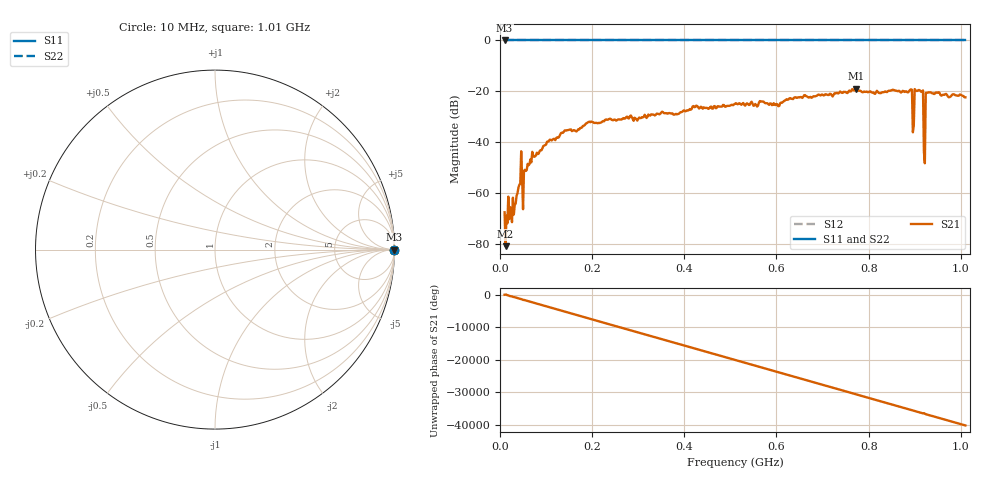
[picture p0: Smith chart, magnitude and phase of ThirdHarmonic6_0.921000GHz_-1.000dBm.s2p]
! 8/16/2025 6:05:22 AM
! C:\ANRITSUVNA\TEMP\TEMP.S2P
! CHANNEL.1
! TR.MEASUREMENT
! RAW.DATA
! RF.CORRECTION.OFF
! AVERAGING.OFF
! IF.BANDWIDTH: 5KHZ
! SWEEPTYPE:  FREQ.SWEEP(Linear)
! Reference Plane Port Info
! PORT:  PORT1  PORT2
! DISTANCE:  0  m  0  m
! TIME:  0  s  0  s
! PHASE.OFFSET:  0  deg.  0  deg.
! LOSS:  0  dB  0  dB
! REF.LOSS:  0  dB  0  dB
! REF.FREQ:  0  Hz  0  Hz
! Power Info
! POWER:  -20  dBm  -20  dBm
! EFF.POWER:  -20  dBm  -20  dBm
! SOURCE.ATTEN:  0  dB  0  dB
! TEST.ATTEN:  0  dB  0  dB
# GHZ S RI R 50.0
! FREQ.GHZ  S11RE  S11IM  S21RE  S21IM  S12RE  S12IM  S22RE  S22IM
!; PortSelection: Port_12
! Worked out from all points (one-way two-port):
!   501 points, 10 MHz to 1.01 GHz, reference 50 ohm
!   highest |S21| = -18.97 dB at 772 MHz (marker M1); lowest = -80.9 dB at 12 MHz (marker M2)
!   lowest |S11| = 0.0 dB at 10 MHz (marker M3)
!   |S11| at or under -10 dB: nowhere
!   |S22| runs from 0.0 to 0.0 dB; largest |S21 - S12| = 1.1
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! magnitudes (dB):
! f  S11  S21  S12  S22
! 10 MHz  0.0  -67.6  0.0  0.0
! 12 MHz  0.0  -80.9  0.0  0.0
! 30 MHz  0.0  -68.5  0.0  0.0
! 44 MHz  0.0  -56.3  0.0  0.0
! 54 MHz  0.0  -50.9  0.0  0.0
! 56 MHz  0.0  -51.3  0.0  0.0
! 70 MHz  0.0  -43.8  0.0  0.0
! 178 MHz  0.0  -34.2  0.0  0.0
! 344 MHz  0.0  -28.9  0.0  0.0
! 510 MHz  0.0  -24.9  0.0  0.0
! 678 MHz  0.0  -22.4  0.0  0.0
! 772 MHz  0.0  -19.0  0.0  0.0
! 844 MHz  0.0  -19.8  0.0  0.0
! 890 MHz  0.0  -19.4  0.0  0.0
! 894 MHz  0.0  -19.4  0.0  0.0
! 900 MHz  0.0  -19.1  0.0  0.0
! 904 MHz  0.0  -19.9  0.0  0.0
! 914 MHz  0.0  -20.2  0.0  0.0
! 918 MHz  0.0  -19.6  0.0  0.0
! 924 MHz  0.0  -20.7  0.0  0.0
! 928 MHz  0.0  -20.6  0.0  0.0
! 1.01 GHz  0.0  -22.4  0.0  0.0
